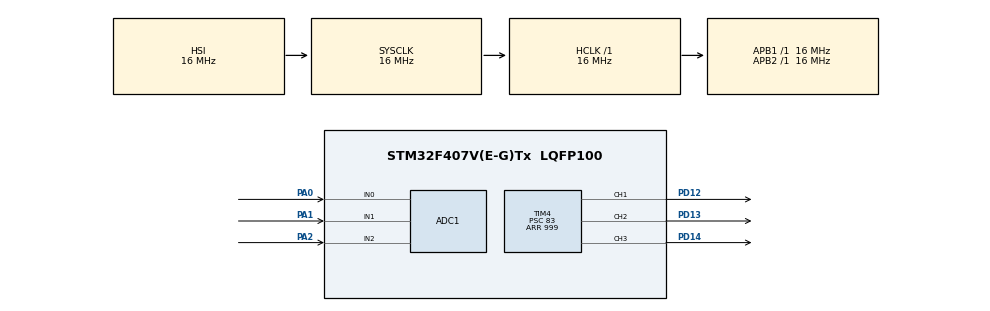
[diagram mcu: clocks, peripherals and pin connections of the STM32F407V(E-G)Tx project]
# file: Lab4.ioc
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ADC1.Channel-0\#ChannelRegularConversion=ADC_CHANNEL_0
ADC1.Channel-1\#ChannelRegularConversion=ADC_CHANNEL_1
ADC1.Channel-2\#ChannelRegularConversion=ADC_CHANNEL_2
ADC1.NbrOfConversion=3
ADC1.NbrOfConversionFlag=1
ADC1.Rank-0\#ChannelRegularConversion=1
ADC1.Rank-1\#ChannelRegularConversion=2
ADC1.Rank-2\#ChannelRegularConversion=3
ADC1.SamplingTime-0\#ChannelRegularConversion=ADC_SAMPLETIME_480CYCLES
ADC1.SamplingTime-1\#ChannelRegularConversion=ADC_SAMPLETIME_480CYCLES
ADC1.SamplingTime-2\#ChannelRegularConversion=ADC_SAMPLETIME_480CYCLES
ADC1.ScanConvMode=ENABLE
ADC1.master=1
Mcu.Family=STM32F4
Mcu.Name=STM32F407V(E-G)Tx
Mcu.Package=LQFP100
NVIC.ADC_IRQn=true\:0\:0\:false\:false\:true\:true\:true\:true
NVIC.PriorityGroup=NVIC_PRIORITYGROUP_4
PA0-WKUP.Signal=ADCx_IN0
PA1.Signal=ADCx_IN1
PA2.Signal=ADCx_IN2
PD12.Signal=S_TIM4_CH1
PD13.Signal=S_TIM4_CH2
PD14.Signal=S_TIM4_CH3
ProjectManager.HeapSize=0x200
ProjectManager.StackSize=0x400
ProjectManager.TargetToolchain=STM32CubeIDE
RCC.AHBFreq_Value=16000000
RCC.APB1Freq_Value=16000000
RCC.APB2Freq_Value=16000000
RCC.CortexFreq_Value=16000000
RCC.HSE_VALUE=25000000
RCC.HSI_VALUE=16000000
RCC.LSE_VALUE=32768
RCC.SYSCLKFreq_VALUE=16000000
RCC.VCOOutputFreq_Value=192000000
SH.ADCx_IN0.0=ADC1_IN0,IN0
SH.ADCx_IN1.0=ADC1_IN1,IN1
SH.ADCx_IN2.0=ADC1_IN2,IN2
SH.S_TIM4_CH1.0=TIM4_CH1,PWM Generation1 CH1
SH.S_TIM4_CH2.0=TIM4_CH2,PWM Generation2 CH2
SH.S_TIM4_CH3.0=TIM4_CH3,PWM Generation3 CH3
TIM4.Channel-PWM\ Generation1\ CH1=TIM_CHANNEL_1
TIM4.Channel-PWM\ Generation2\ CH2=TIM_CHANNEL_2
TIM4.Channel-PWM\ Generation3\ CH3=TIM_CHANNEL_3
TIM4.Period=999
TIM4.Prescaler=83
VP_TIM4_VS_ClockSourceINT.Mode=Internal
board=custom

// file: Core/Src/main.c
/* USER CODE BEGIN Header */
/**
  ******************************************************************************
  * @file           : main.c
  * @brief          : Main program body
  ******************************************************************************
  * @attention
  *
  * Copyright (c) 2025 STMicroelectronics.
  * All rights reserved.
  *
  * This software is licensed under terms that can be found in the LICENSE file
  * in the root directory of this software component.
  * If no LICENSE file comes with this software, it is provided AS-IS.
  *
  ******************************************************************************
  */
/* USER CODE END Header */
#include "main.h"

ADC_HandleTypeDef hadc1;

TIM_HandleTypeDef htim4;

/* USER CODE BEGIN PV */
uint32_t adcValues[3];
uint8_t currentChannel = 0;
/* USER CODE END PV */

void SystemClock_Config(void);
static void MX_GPIO_Init(void);
static void MX_ADC1_Init(void);
static void MX_TIM4_Init(void);

int main(void)
{

  /* MCU Configuration--------------------------------------------------------*/

  /* Reset of all peripherals, Initializes the Flash interface and the Systick. */
  HAL_Init();

  /* Configure the system clock */
  SystemClock_Config();

  /* Initialize all configured peripherals */
  MX_GPIO_Init();
  MX_ADC1_Init();
  MX_TIM4_Init();
  /* USER CODE BEGIN 2 */
  // Start PWM on channels
  HAL_TIM_PWM_Start(&htim4, TIM_CHANNEL_1);
  HAL_TIM_PWM_Start(&htim4, TIM_CHANNEL_2);
  HAL_TIM_PWM_Start(&htim4, TIM_CHANNEL_3);

  currentChannel = 0;
  // Start ADC with interrupt mode
  HAL_ADC_Start_IT(&hadc1);
  /* USER CODE END 2 */

  /* Infinite loop */
  while (1)
  {

  }
}

void SystemClock_Config(void)
{
  RCC_OscInitTypeDef RCC_OscInitStruct = {0};
  RCC_ClkInitTypeDef RCC_ClkInitStruct = {0};

  /** Configure the main internal regulator output voltage
  */
  __HAL_RCC_PWR_CLK_ENABLE();
  __HAL_PWR_VOLTAGESCALING_CONFIG(PWR_REGULATOR_VOLTAGE_SCALE1);

  /** Initializes the RCC Oscillators according to the specified parameters
  * in the RCC_OscInitTypeDef structure.
  */
  RCC_OscInitStruct.OscillatorType = RCC_OSCILLATORTYPE_HSI;
  RCC_OscInitStruct.HSIState = RCC_HSI_ON;
  RCC_OscInitStruct.HSICalibrationValue = RCC_HSICALIBRATION_DEFAULT;
  RCC_OscInitStruct.PLL.PLLState = RCC_PLL_NONE;
  if (HAL_RCC_OscConfig(&RCC_OscInitStruct) != HAL_OK)
  {
    Error_Handler();
  }

  /** Initializes the CPU, AHB and APB buses clocks
  */
  RCC_ClkInitStruct.ClockType = RCC_CLOCKTYPE_HCLK|RCC_CLOCKTYPE_SYSCLK
                              |RCC_CLOCKTYPE_PCLK1|RCC_CLOCKTYPE_PCLK2;
  RCC_ClkInitStruct.SYSCLKSource = RCC_SYSCLKSOURCE_HSI;
  RCC_ClkInitStruct.AHBCLKDivider = RCC_SYSCLK_DIV1;
  RCC_ClkInitStruct.APB1CLKDivider = RCC_HCLK_DIV1;
  RCC_ClkInitStruct.APB2CLKDivider = RCC_HCLK_DIV1;

  if (HAL_RCC_ClockConfig(&RCC_ClkInitStruct, FLASH_LATENCY_0) != HAL_OK)
  {
    Error_Handler();
  }
}

static void MX_ADC1_Init(void)
{

  ADC_ChannelConfTypeDef sConfig = {0};

  /** Configure the global features of the ADC (Clock, Resolution, Data Alignment and number of conversion)
  */
  hadc1.Instance = ADC1;
  hadc1.Init.ClockPrescaler = ADC_CLOCK_SYNC_PCLK_DIV2;
  hadc1.Init.Resolution = ADC_RESOLUTION_12B;
  hadc1.Init.ScanConvMode = ENABLE;
  hadc1.Init.ContinuousConvMode = DISABLE;
  hadc1.Init.DiscontinuousConvMode = DISABLE;
  hadc1.Init.ExternalTrigConvEdge = ADC_EXTERNALTRIGCONVEDGE_NONE;
  hadc1.Init.ExternalTrigConv = ADC_SOFTWARE_START;
  hadc1.Init.DataAlign = ADC_DATAALIGN_RIGHT;
  hadc1.Init.NbrOfConversion = 3;
  hadc1.Init.DMAContinuousRequests = DISABLE;
  hadc1.Init.EOCSelection = ADC_EOC_SINGLE_CONV;
  if (HAL_ADC_Init(&hadc1) != HAL_OK)
  {
    Error_Handler();
  }

  /** Configure for the selected ADC regular channel its corresponding rank in the sequencer and its sample time.
  */
  sConfig.Channel = ADC_CHANNEL_0;
  sConfig.Rank = 1;
  sConfig.SamplingTime = ADC_SAMPLETIME_480CYCLES;
  if (HAL_ADC_ConfigChannel(&hadc1, &sConfig) != HAL_OK)
  {
    Error_Handler();
  }

  /** Configure for the selected ADC regular channel its corresponding rank in the sequencer and its sample time.
  */
  sConfig.Channel = ADC_CHANNEL_1;
  sConfig.Rank = 2;
  if (HAL_ADC_ConfigChannel(&hadc1, &sConfig) != HAL_OK)
  {
    Error_Handler();
  }

  /** Configure for the selected ADC regular channel its corresponding rank in the sequencer and its sample time.
  */
  sConfig.Channel = ADC_CHANNEL_2;
  sConfig.Rank = 3;
  if (HAL_ADC_ConfigChannel(&hadc1, &sConfig) != HAL_OK)
  {
    Error_Handler();
  }

}

static void MX_TIM4_Init(void)
{

  TIM_ClockConfigTypeDef sClockSourceConfig = {0};
  TIM_MasterConfigTypeDef sMasterConfig = {0};
  TIM_OC_InitTypeDef sConfigOC = {0};

  htim4.Instance = TIM4;
  htim4.Init.Prescaler = 83;
  htim4.Init.CounterMode = TIM_COUNTERMODE_UP;
  htim4.Init.Period = 999;
  htim4.Init.ClockDivision = TIM_CLOCKDIVISION_DIV1;
  htim4.Init.AutoReloadPreload = TIM_AUTORELOAD_PRELOAD_DISABLE;
  if (HAL_TIM_Base_Init(&htim4) != HAL_OK)
  {
    Error_Handler();
  }
  sClockSourceConfig.ClockSource = TIM_CLOCKSOURCE_INTERNAL;
  if (HAL_TIM_ConfigClockSource(&htim4, &sClockSourceConfig) != HAL_OK)
  {
    Error_Handler();
  }
  if (HAL_TIM_PWM_Init(&htim4) != HAL_OK)
  {
    Error_Handler();
  }
  sMasterConfig.MasterOutputTrigger = TIM_TRGO_RESET;
  sMasterConfig.MasterSlaveMode = TIM_MASTERSLAVEMODE_DISABLE;
  if (HAL_TIMEx_MasterConfigSynchronization(&htim4, &sMasterConfig) != HAL_OK)
  {
    Error_Handler();
  }
  sConfigOC.OCMode = TIM_OCMODE_PWM1;
  sConfigOC.Pulse = 0;
  sConfigOC.OCPolarity = TIM_OCPOLARITY_HIGH;
  sConfigOC.OCFastMode = TIM_OCFAST_DISABLE;
  if (HAL_TIM_PWM_ConfigChannel(&htim4, &sConfigOC, TIM_CHANNEL_1) != HAL_OK)
  {
    Error_Handler();
  }
  if (HAL_TIM_PWM_ConfigChannel(&htim4, &sConfigOC, TIM_CHANNEL_2) != HAL_OK)
  {
    Error_Handler();
  }
  if (HAL_TIM_PWM_ConfigChannel(&htim4, &sConfigOC, TIM_CHANNEL_3) != HAL_OK)
  {
    Error_Handler();
  }
  HAL_TIM_MspPostInit(&htim4);

}

static void MX_GPIO_Init(void)
{

  /* GPIO Ports Clock Enable */
  __HAL_RCC_GPIOA_CLK_ENABLE();
  __HAL_RCC_GPIOD_CLK_ENABLE();

}

/* USER CODE BEGIN 4 */
void HAL_ADC_ConvCpltCallback(ADC_HandleTypeDef* hadc)
{
    if (hadc->Instance == ADC1)
    {
    	// Read current ADC value
        uint32_t value = HAL_ADC_GetValue(&hadc1);
        // Save value to array
        adcValues[currentChannel] = value;
        // Go to next channel
        currentChannel++;
        if(currentChannel >= 3)
        {
        	// Restart channel index
            currentChannel = 0;
            // Update PWM using ADC values
            TIM4->CCR1 = adcValues[0] * 999 / 4095;
            TIM4->CCR2 = adcValues[1] * 999 / 4095;
            TIM4->CCR3 = adcValues[2] * 999 / 4095;
        }
        // Start next ADC conversion
        HAL_ADC_Start_IT(&hadc1);
    }
}
/* USER CODE END 4 */

void Error_Handler(void)
{
  __disable_irq();
  while (1)
  {
  }
}
